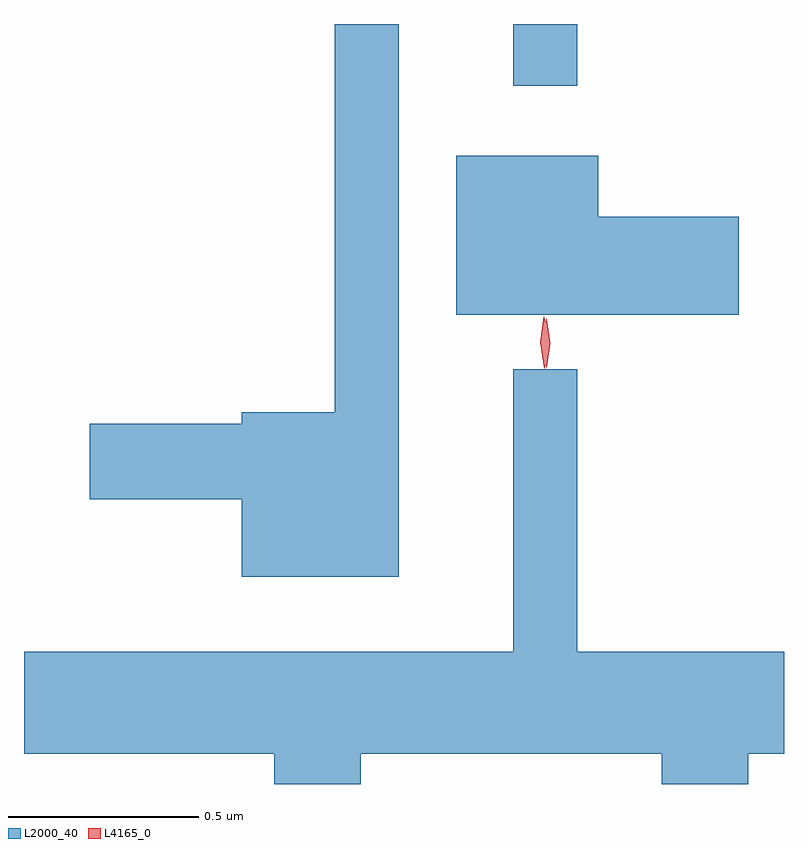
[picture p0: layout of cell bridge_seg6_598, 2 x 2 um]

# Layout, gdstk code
import gdstk
lib = gdstk.Library(unit=1e-6, precision=1e-09)
def R(c, l, rs):  # rectangles x0, y0, x1, y1
    for r in rs: c.add(gdstk.rectangle(r[:2], r[2:], *l))
def P(c, l, *ps):  # polygons
    for p in ps: c.add(gdstk.Polygon(p, *l))
L2000_40 = (2000, 40)
L4165_0 = (4165, 0)

bridge_seg6_598 = lib.new_cell('bridge_seg6_598')
R(bridge_seg6_598, L2000_40, [(460.211,1667.233,460.379,1667.396)])
P(bridge_seg6_598, L2000_40, [(459.909,1667.396),(459.741,1667.396),(459.741,1666.374),(459.496,1666.374),(459.496,1666.344),(459.096,1666.344),(459.096,1666.146),(459.496,1666.146),(459.496,1665.941),(459.909,1665.941)],
  [(460.804,1666.889),(460.434,1666.889),(460.434,1667.049),(460.061,1667.049),(460.061,1666.631),(460.804,1666.631)],
  [(459.809,1665.476),(460.601,1665.476),(460.601,1665.396),(460.829,1665.396),(460.829,1665.476),(460.923,1665.476),(460.923,1665.744),(460.379,1665.744),(460.379,1666.488),(460.211,1666.488),(460.211,1665.744),(458.923,1665.744),(458.923,1665.476),(459.581,1665.476),(459.581,1665.396),(459.809,1665.396)])
P(bridge_seg6_598, L4165_0, [(460.297,1666.493),(460.288,1666.556),(460.297,1666.619),(460.298,1666.62),(460.298,1666.619),(460.308,1666.556),(460.298,1666.493),(460.298,1666.493)],
  [(460.292,1666.49),(460.282,1666.558),(460.291,1666.626),(460.292,1666.626),(460.292,1666.626),(460.302,1666.558),(460.293,1666.49),(460.293,1666.49)])

lib.write_gds('bridge_seg6_598.gds')
